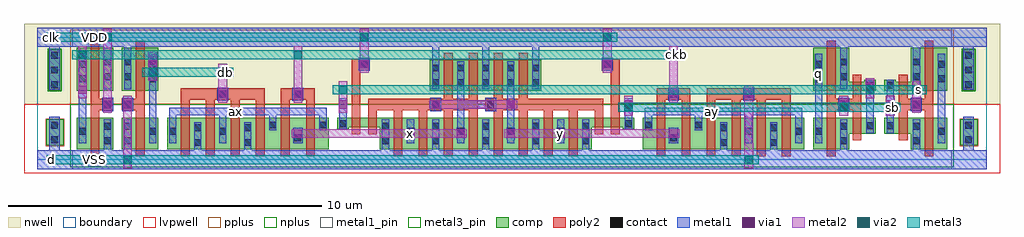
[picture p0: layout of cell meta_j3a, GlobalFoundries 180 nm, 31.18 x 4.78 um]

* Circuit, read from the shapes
.subckt meta_j3a VDD VSS ax ay ckb clk d db q s sb x y
XM1 VSS clk ckb VSS nfet_03v3 w=1u l=0.28u
XM2 db d VSS VSS nfet_03v3 w=1u l=0.28u
XM3 VSS db ax VSS nfet_03v3 w=1u l=0.28u m=4
XM4 x ckb ax VSS nfet_03v3 w=1u l=0.28u m=2
XM5 n1 clk s VSS nfet_03v3 w=0.3u l=0.28u
XM6 VSS y n1 VSS nfet_03v3 w=0.3u l=0.28u
XM7 x y VSS VSS nfet_03v3 w=1u l=0.28u m=4
XM8 y x VSS VSS nfet_03v3 w=1u l=0.28u m=4
XM9 n2 x VSS VSS nfet_03v3 w=0.3u l=0.28u
XM10 sb clk n2 VSS nfet_03v3 w=0.3u l=0.28u
XM11 y ckb ay VSS nfet_03v3 w=1u l=0.28u m=2
XM12 VSS d ay VSS nfet_03v3 w=1u l=0.28u m=4
XM13 VSS sb q VSS nfet_03v3 w=1u l=0.28u
XM14 s sb VSS VSS nfet_03v3 w=0.5u l=0.28u
XM15 VSS s sb VSS nfet_03v3 w=0.5u l=0.28u
XM16 n3 s VSS VSS nfet_03v3 w=1u l=0.28u
XM17 VDD clk ckb VDD pfet_03v3 w=1.38u l=0.28u
XM18 db d VDD VDD pfet_03v3 w=1.38u l=0.28u
XM19 x y VDD VDD pfet_03v3 w=1u l=0.28u m=2
XM20 y x VDD VDD pfet_03v3 w=1u l=0.28u m=2
XM21 VDD sb q VDD pfet_03v3 w=1.38u l=0.28u
XM22 s sb VDD VDD pfet_03v3 w=0.3u l=0.28u
XM23 VDD s sb VDD pfet_03v3 w=0.3u l=0.28u
XM24 n3 s VDD VDD pfet_03v3 w=1.38u l=0.28u
.ends

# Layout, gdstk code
import gdstk
lib = gdstk.Library(unit=1e-6, precision=1e-09)
def R(c, l, rs):  # rectangles x0, y0, x1, y1
    for r in rs: c.add(gdstk.rectangle(r[:2], r[2:], *l))
def A(c, l, x, y, w, h, nx, ny, dx, dy):  # array of equal rectangles
    R(c, l, [(x+i*dx, y+j*dy, x+i*dx+w, y+j*dy+h) for i in range(nx) for j in range(ny)])
boundary = (0, 0)
nwell = (21, 0)
comp = (22, 0)
poly2 = (30, 0)
pplus = (31, 0)
nplus = (32, 0)
contact = (33, 0)
metal1 = (34, 0)
metal1_pin = (34, 10)
via1 = (35, 0)
metal2 = (36, 0)
via2 = (38, 0)
metal3 = (42, 0)
metal3_pin = (42, 10)
lvpwell = (204, 0)

gf180mcu_as_sc_mcu7t3v3_ = lib.new_cell('gf180mcu_as_sc_mcu7t3v3__tap_2')
R(gf180mcu_as_sc_mcu7t3v3_, boundary, [(0,0,1.12,3.92)])
R(gf180mcu_as_sc_mcu7t3v3_, nwell, [(-0.43,1.77,1.55,4.35)])
R(gf180mcu_as_sc_mcu7t3v3_, comp, [(0.28,0.46,0.84,1.29), (0.36,2.22,0.76,3.52)])
R(gf180mcu_as_sc_mcu7t3v3_, pplus, [(0.335,0.43,0.755,0.44), (0.26,0.44,0.86,1.31), (0.335,1.31,0.755,1.32)])
R(gf180mcu_as_sc_mcu7t3v3_, nplus, [(0.335,2.19,0.755,2.2), (0.335,2.2,0.78,3.54), (0.335,3.54,0.755,3.55)])
A(gf180mcu_as_sc_mcu7t3v3_, contact, 0.435, 2.29, 0.22, 0.22, 1, 3, 0, 0.47)
R(gf180mcu_as_sc_mcu7t3v3_, contact, [(0.435,0.53,0.655,0.75), (0.435,1,0.655,1.22)])
R(gf180mcu_as_sc_mcu7t3v3_, metal1, [(0,-0.3,1.12,0.3), (0.375,0.3,0.715,1.38), (0.375,2.235,0.715,3.62), (0,3.62,1.12,4.22)])
R(gf180mcu_as_sc_mcu7t3v3_, metal1_pin, [(0,-0.3,1.12,0.3), (0,3.62,1.12,4.22)])
R(gf180mcu_as_sc_mcu7t3v3_, lvpwell, [(-0.43,-0.43,1.55,1.77)])
gf180mcu_as_sc_mcu7t3v3_.add(gdstk.Label('VDD', (0.56,3.92), layer=34, texttype=10))
gf180mcu_as_sc_mcu7t3v3_.add(gdstk.Label('VSS', (0.56,0), layer=34, texttype=10))

meta_j3a = lib.new_cell('meta_j3a')
R(meta_j3a, boundary, [(0,0,30.32,3.92)])
R(meta_j3a, nwell, [(0.69,1.77,29.63,4.35)])
R(meta_j3a, comp, [(1.26,0.34,2.42,1.34), (2.7,0.34,3.86,1.34), (4.14,0.34,9.3,1.34), (10.94,0.34,17.7,1.04), (19.34,0.34,24.5,1.34), (24.78,0.34,25.94,0.84), (27.9,0.34,29.06,0.84), (24.78,0.84,26.78,1.34), (27.06,0.84,29.06,1.34), (9.58,0.97,9.94,1.04), (18.7,0.97,19.06,1.04), (9.58,1.04,19.06,1.34), (1.26,2.2,2.42,3.58), (2.7,2.2,3.86,3.58), (12.54,2.2,16.1,3.2), (24.78,2.2,26.78,2.5), (27.06,2.2,29.06,2.5), (24.78,2.5,25.94,3.58), (26.42,2.5,26.78,2.56), (27.06,2.5,27.42,2.56), (27.9,2.5,29.06,3.58)])
A(meta_j3a, poly2, 4.58, 0.12, 0.28, 1.795, 6, 1, 0.8, 0)
A(meta_j3a, poly2, 11.38, 0.12, 0.28, 1.465, 8, 1, 0.8, 0)
A(meta_j3a, poly2, 19.78, 0.12, 0.28, 1.795, 6, 1, 0.8, 0)
A(meta_j3a, poly2, 12.98, 1.955, 0.28, 1.465, 4, 1, 0.8, 0)
R(meta_j3a, poly2, [(1.7,0.12,1.98,1.585), (3.14,0.12,3.42,1.585), (25.22,0.12,25.5,1.585), (28.34,0.12,28.62,1.585), (26.04,0.62,26.32,1.585), (27.52,0.62,27.8,1.585), (10.04,0.82,10.32,2.87), (10.56,0.82,10.84,1.585), (17.8,0.82,18.08,1.585), (18.32,0.82,18.6,2.87), (1.7,1.585,2.42,1.955), (2.7,1.585,3.42,1.955), (10.56,1.585,14.06,1.955), (14.3,1.585,18.08,1.955), (25.22,1.585,26.32,1.955), (27.52,1.585,28.62,1.955), (4.58,1.915,7.26,2.285), (7.78,1.915,8.86,2.285), (19.78,1.915,20.86,2.285), (21.38,1.915,24.06,2.285), (1.7,1.955,1.98,3.8), (3.14,1.955,3.42,3.8), (25.22,1.955,25.5,3.8), (26.04,1.955,26.32,2.72), (27.52,1.955,27.8,2.72), (28.34,1.955,28.62,3.8), (10.04,2.87,10.62,3.23), (18.02,2.87,18.6,3.23)])
R(meta_j3a, pplus, [(1.04,1.77,29.28,4.15)])
R(meta_j3a, nplus, [(1.04,-0.23,29.28,1.77)])
A(meta_j3a, contact, 11.01, 0.495, 0.22, 0.22, 5, 2, 1.6, 0.47)
A(meta_j3a, contact, 11.81, 0.8, 0.22, 0.22, 4, 1, 1.6, 0)
A(meta_j3a, contact, 12.61, 2.355, 0.22, 0.22, 5, 2, 0.8, 0.47)
R(meta_j3a, contact, [(5.01,0.445,5.23,0.665), (6.61,0.445,6.83,0.665), (21.81,0.445,22.03,0.665), (23.41,0.445,23.63,0.665), (2.13,0.495,2.35,0.715), (2.77,0.495,2.99,0.715), (25.65,0.495,25.87,0.715), (27.97,0.495,28.19,0.715), (8.21,0.595,8.43,0.815), (20.21,0.595,20.43,0.815), (1.33,0.8,1.55,1.02), (3.57,0.8,3.79,1.02), (4.21,0.8,4.43,1.02), (5.81,0.8,6.03,1.02), (22.61,0.8,22.83,1.02), (24.21,0.8,24.43,1.02), (24.85,0.8,25.07,1.02), (28.77,0.8,28.99,1.02), (5.01,0.915,5.23,1.135), (6.61,0.915,6.83,1.135), (21.81,0.915,22.03,1.135), (23.41,0.915,23.63,1.135), (2.13,0.965,2.35,1.185), (2.77,0.965,2.99,1.185), (25.65,0.965,25.87,1.185), (27.97,0.965,28.19,1.185), (26.49,0.98,26.71,1.2), (27.13,0.98,27.35,1.2), (7.41,1.005,7.63,1.225), (9.01,1.005,9.23,1.225), (19.41,1.005,19.63,1.225), (21.01,1.005,21.23,1.225), (9.65,1.045,9.87,1.265), (18.77,1.045,18.99,1.265), (2.13,1.66,2.35,1.88), (2.77,1.66,2.99,1.88), (12.61,1.66,12.83,1.88), (14.37,1.66,14.59,1.88), (25.65,1.66,25.87,1.88), (27.97,1.66,28.19,1.88), (5.81,1.99,6.03,2.21), (8.21,1.99,8.43,2.21), (20.21,1.99,20.43,2.21), (22.61,1.99,22.83,2.21), (26.49,2.27,26.71,2.49), (27.13,2.27,27.35,2.49), (1.33,2.475,1.55,2.695), (3.57,2.475,3.79,2.695), (24.85,2.475,25.07,2.695), (28.77,2.475,28.99,2.695), (2.13,2.545,2.35,2.765), (2.77,2.545,2.99,2.765), (25.65,2.545,25.87,2.765), (27.97,2.545,28.19,2.765), (10.33,2.94,10.55,3.16), (18.09,2.94,18.31,3.16), (1.33,2.945,1.55,3.165), (3.57,2.945,3.79,3.165), (24.85,2.945,25.07,3.165), (28.77,2.945,28.99,3.165), (2.13,3.015,2.35,3.235), (2.77,3.015,2.99,3.235), (25.65,3.015,25.87,3.235), (27.97,3.015,28.19,3.235)])
A(meta_j3a, metal1, 11.005, 0.3, 0.23, 0.99, 5, 1, 1.6, 0)
A(meta_j3a, metal1, 11.805, 0.53, 0.23, 0.12, 4, 1, 1.6, 0)
A(meta_j3a, metal1, 11.79, 0.65, 0.26, 0.38, 4, 1, 1.6, 0)
A(meta_j3a, metal1, 12.605, 2.25, 0.23, 1.37, 3, 1, 1.6, 0)
R(meta_j3a, metal1, [(1.12,-0.3,29.2,0.3), (2.125,0.3,2.355,1.29), (2.765,0.3,2.995,1.29), (5.005,0.3,5.235,1.2), (6.605,0.3,6.835,1.2), (21.805,0.3,22.035,1.2), (23.405,0.3,23.635,1.2), (25.645,0.3,25.875,1.29), (27.965,0.3,28.195,1.29), (1.325,0.53,1.555,2.05), (3.565,0.53,3.795,3), (4.205,0.53,4.435,1.43), (5.805,0.53,6.035,1.43), (8.17,0.53,8.47,1.03), (20.17,0.53,20.47,1.03), (22.605,0.53,22.835,1.43), (24.205,0.53,24.435,1.43), (24.845,0.53,25.075,3.385), (28.765,0.53,28.995,3.385), (26.485,0.85,26.715,2.14), (27.125,0.85,27.355,1.58), (7.405,0.94,7.635,1.43), (9.005,0.94,9.235,1.43), (19.405,0.94,19.635,1.43), (21.005,0.94,21.235,1.43), (9.645,0.98,9.875,1.58), (18.765,0.98,18.995,1.58), (11.805,1.03,12.035,1.29), (13.405,1.03,13.635,1.655), (15.005,1.03,15.235,1.58), (16.605,1.03,16.835,1.29), (4.205,1.43,9.235,1.66), (19.405,1.43,24.435,1.66), (2.065,1.56,2.415,1.98), (2.705,1.56,3.055,1.98), (12.545,1.56,12.895,1.98), (14.305,1.56,14.655,1.655), (25.585,1.56,25.935,1.98), (27.905,1.56,28.255,1.98), (9.63,1.58,9.89,1.96), (14.99,1.58,15.25,1.96), (18.75,1.58,19.01,1.96), (27.11,1.58,27.37,1.96), (13.405,1.655,14.655,1.885), (13.405,1.885,13.635,3.15), (14.305,1.885,14.655,1.98), (5.745,1.89,6.095,2.31), (8.145,1.89,8.495,2.31), (20.145,1.89,20.495,2.31), (22.545,1.89,22.895,2.31), (9.645,1.96,9.875,1.97), (15.005,1.96,15.235,3.15), (18.765,1.96,18.995,1.97), (27.125,1.96,27.355,2.555), (1.31,2.05,1.57,2.43), (26.47,2.14,26.73,2.52), (2.125,2.25,2.355,3.62), (2.765,2.25,2.995,3.62), (25.645,2.25,25.875,3.62), (27.965,2.25,28.195,3.62), (1.325,2.43,1.555,3.385), (26.485,2.52,26.715,2.555), (10.265,2.84,10.615,3.26), (18.025,2.84,18.375,3.26), (3.55,3,3.81,3.38), (3.565,3.38,3.795,3.385), (1.12,3.62,29.2,4.22)])
R(meta_j3a, metal1_pin, [(1.62,-0.2,2.02,0.2), (24.845,2.6,25.075,2.9), (1.62,3.7,2.02,4.1)])
A(meta_j3a, via1, 11.79, 0.71, 0.26, 0.26, 4, 1, 1.6, 0)
R(meta_j3a, via1, [(8.19,0.71,8.45,0.97), (20.19,0.71,20.45,0.97), (2.11,1.64,2.37,1.9), (2.75,1.64,3.01,1.9), (9.63,1.64,9.89,1.9), (12.59,1.64,12.85,1.9), (14.99,1.64,15.25,1.9), (18.75,1.64,19.01,1.9), (25.63,1.64,25.89,1.9), (27.11,1.64,27.37,1.9), (27.95,1.64,28.21,1.9), (5.79,1.97,6.05,2.23), (8.19,1.97,8.45,2.23), (20.19,1.97,20.45,2.23), (22.59,1.97,22.85,2.23), (1.31,2.11,1.57,2.37), (26.47,2.2,26.73,2.46), (10.31,2.92,10.57,3.18), (18.07,2.92,18.33,3.18), (3.55,3.06,3.81,3.32)])
R(meta_j3a, metal2, [(2.74,-0.27,3.02,2.04), (22.58,-0.27,22.86,2.37), (8.12,0.7,13.72,0.98), (14.92,0.7,20.52,0.98), (18.74,1.41,19.02,2.04), (25.62,1.41,25.9,2.04), (27.1,1.41,27.38,2.04), (2.1,1.5,2.38,4.19), (9.62,1.5,9.9,2.51), (27.94,1.5,28.22,2.51), (12.52,1.63,15.32,1.91), (5.78,1.83,6.06,3.07), (8.18,1.83,8.46,3.63), (20.18,1.83,20.46,3.63), (1.3,1.97,1.58,3.63), (26.46,1.97,26.74,2.6), (3.54,2.53,3.82,3.46), (10.3,2.78,10.58,4.19), (18.06,2.78,18.34,4.19)])
R(meta_j3a, via2, [(2.75,-0.13,3.01,0.13), (22.59,-0.13,22.85,0.13), (18.75,1.55,19.01,1.81), (25.63,1.55,25.89,1.81), (27.11,1.55,27.37,1.81), (9.63,2.11,9.89,2.37), (26.47,2.11,26.73,2.37), (27.95,2.11,28.21,2.37), (3.55,2.67,3.81,2.93), (5.79,2.67,6.05,2.93), (1.31,3.23,1.57,3.49), (8.19,3.23,8.45,3.49), (20.19,3.23,20.45,3.49), (2.11,3.79,2.37,4.05), (10.31,3.79,10.57,4.05), (18.07,3.79,18.33,4.05)])
R(meta_j3a, metal3, [(0.3,-0.14,23.05,0.14), (18.55,1.54,27.57,1.82), (9.43,2.1,28.41,2.38), (3.35,2.66,6.25,2.94), (1.11,3.22,20.65,3.5), (0.3,3.78,18.53,4.06)])
R(meta_j3a, metal3_pin, [(0.3,-0.14,0.58,0.14), (0.3,3.78,0.58,4.06)])
R(meta_j3a, lvpwell, [(0.69,-0.43,29.63,1.77)])
meta_j3a.add(gdstk.Reference(gf180mcu_as_sc_mcu7t3v3_, (29.2,0)))
meta_j3a.add(gdstk.Reference(gf180mcu_as_sc_mcu7t3v3_, (0,0)))
meta_j3a.add(gdstk.Label('sb', (27.32,1.68), layer=42, texttype=0))
meta_j3a.add(gdstk.Label('s', (28.16,2.24), layer=42, texttype=0))
meta_j3a.add(gdstk.Label('db', (6,2.8), layer=42, texttype=0))
meta_j3a.add(gdstk.Label('ckb', (20.4,3.36), layer=42, texttype=0))
meta_j3a.add(gdstk.Label('x', (11.92,0.84), layer=36, texttype=0))
meta_j3a.add(gdstk.Label('y', (16.72,0.84), layer=36, texttype=0))
meta_j3a.add(gdstk.Label('ax', (6.32,1.545), layer=34, texttype=0))
meta_j3a.add(gdstk.Label('ay', (21.52,1.545), layer=34, texttype=0))
meta_j3a.add(gdstk.Label('d', (0.44,0), layer=42, texttype=10))
meta_j3a.add(gdstk.Label('clk', (0.44,3.92), layer=42, texttype=10))
meta_j3a.add(gdstk.Label('q', (24.96,2.75), layer=34, texttype=10))
meta_j3a.add(gdstk.Label('VDD', (1.82,3.9), layer=34, texttype=10))
meta_j3a.add(gdstk.Label('VSS', (1.82,0), layer=34, texttype=10))

lib.write_gds('meta_j3a.gds')
